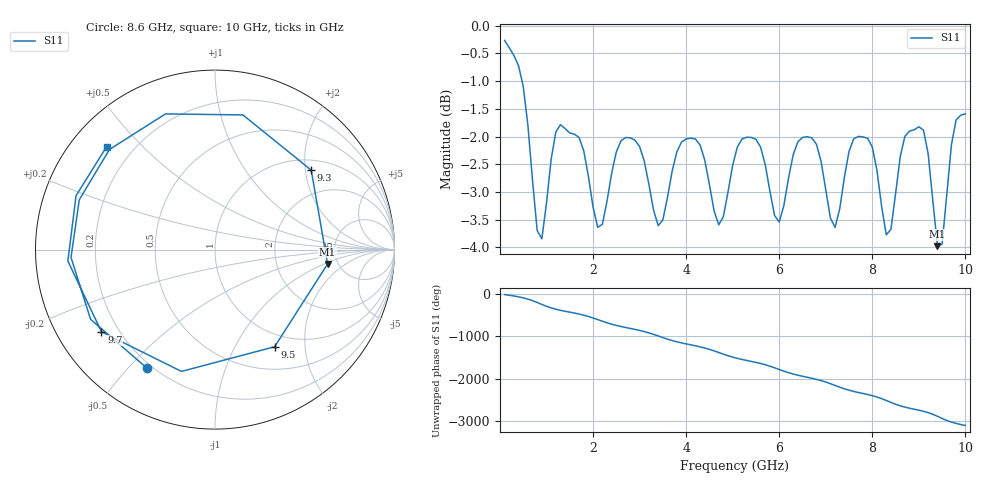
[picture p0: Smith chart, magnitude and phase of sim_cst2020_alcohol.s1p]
! Created with skrf 1.12.0 (http://scikit-rf.org).
# Hz S RI R 50.0
!freq ReS11 ImS11
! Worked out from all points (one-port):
!   100 points, 100 MHz to 10 GHz, reference 50 ohm
!   lowest |S11| = -4.0 dB at 9.4 GHz (marker M1), VSWR 4.44, Z = 206 - j55.1 ohm
!   |S11| at or under -10 dB: nowhere
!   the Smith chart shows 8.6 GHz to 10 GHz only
!   S11 on the Smith chart (normalised r, x): 8.6 GHz: 0.18, -0.57; 9.3 GHz: 1.26, +2.15; 9.5 GHz: 0.81, -1.46; 9.7 GHz: 0.14, -0.32; 10 GHz: 0.11, +0.40
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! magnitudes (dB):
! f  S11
! 100 MHz  -0.3
! 500 MHz  -1.1
! 900 MHz  -3.8
! 1.2 GHz  -1.9
! 1.4 GHz  -1.9
! 2.1 GHz  -3.6
! 2.6 GHz  -2.1
! 3.4 GHz  -3.6
! 3.9 GHz  -2.1
! 4.3 GHz  -2.2
! 4.7 GHz  -3.6
! 5.1 GHz  -2.2
! 5.6 GHz  -2.2
! 6 GHz  -3.5
! 6.3 GHz  -2.3
! 6.8 GHz  -2.1
! 7.2 GHz  -3.6
! 7.6 GHz  -2.0
! 8 GHz  -2.2
! 8.3 GHz  -3.8
! 8.6 GHz  -2.4
! 8.8 GHz  -1.9
! 9.1 GHz  -1.9
! 9.3 GHz  -3.2
! 9.4 GHz  -4.0
! 9.5 GHz  -3.9
! 9.7 GHz  -2.2
! 10 GHz  -1.6
